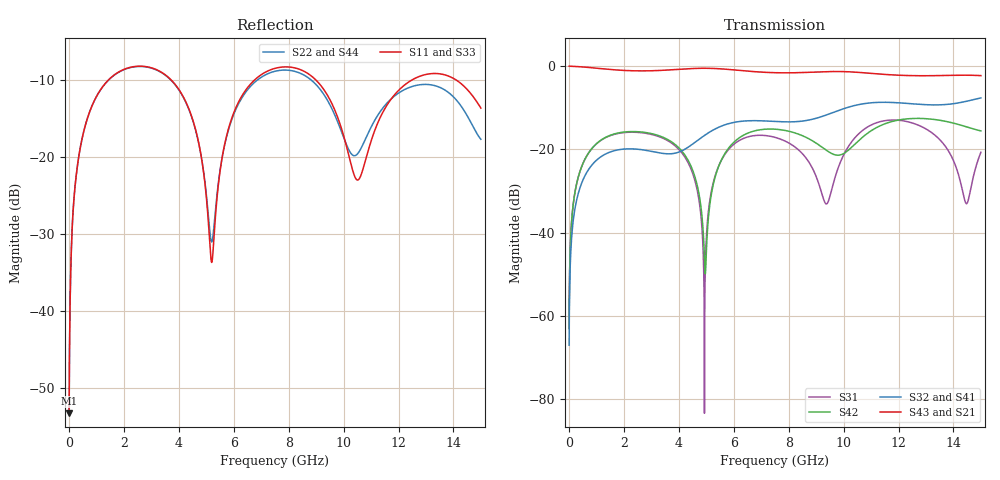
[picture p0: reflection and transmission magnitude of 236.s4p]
! Created with skrf 1.8.0 (http://scikit-rf.org).
# GHz S RI R 50.0
!freq ReS11 ImS11 ReS12 ImS12 ReS13 ImS13
! ReS14 ImS14
! ReS21 ImS21 ReS22 ImS22 ReS23 ImS23
! ReS24 ImS24
! ReS31 ImS31 ReS32 ImS32 ReS33 ImS33
! ReS34 ImS34
! ReS41 ImS41 ReS42 ImS42 ReS43 ImS43
! ReS44 ImS44
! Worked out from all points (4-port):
!   2499 points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, 5 MHz to 15 GHz, reference 50 ohm
!   strongest paths, dB at 5 MHz, 3.476 GHz, 7.19 GHz, 11.1 GHz, 15 GHz:
!     S43: 0.0, -1.0, -1.5, -1.8, -2.3
!     S21: 0.0, -1.0, -1.5, -1.8, -2.3
!     S32: -67.0, -21.0, -13.2, -8.8, -7.6
!     S41: -67.0, -21.1, -13.2, -8.8, -7.6
!     S42: -63.0, -17.2, -15.1, -15.1, -15.6
!     S31: -63.0, -17.5, -16.7, -13.9, -20.7
!   lowest |S11| = -53.3 dB at 5 MHz (marker M1), VSWR 1.00, Z = 50.2 + j0.131 ohm
!   |S11| at or under -10 dB: start of sweep to 1.421 GHz; 3.739 GHz to 6.74 GHz (3.001 GHz wide, 57.3 % of centre); 9.008 GHz to 12.46 GHz (3.452 GHz wide, 32.2 % of centre) (the widest 3 of 4)
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0.005  0.00172 0.00131  0.9982 -0.00336  8.74e-05 0.000701  -8.48e-05 -0.000437
       0.9982 -0.00336  0.00172 0.00131  -8.48e-05 -0.000437  8.75e-05 0.000701
       8.74e-05 0.000701  -8.48e-05 -0.000437  0.00172 0.00131  0.9982 -0.00336
       -8.48e-05 -0.000437  8.75e-05 0.000701  0.9982 -0.00336  0.00172 0.00131
1.519383  0.2796 0.173  0.5293 -0.7404  0.1324 0.0637  -0.0933 -0.00275
          0.5293 -0.7404  0.2779 0.1743  -0.0934 -0.00255  0.1367 0.0576
          0.1324 0.0637  -0.0934 -0.00255  0.2794 0.1731  0.5293 -0.7404
          -0.0933 -0.00275  0.1367 0.0576  0.5293 -0.7404  0.278 0.1742
4.189246  0.159 -0.1831  -0.697 -0.6057  0.0466 -0.0695  -0.0453 0.0874
          -0.697 -0.6057  0.1638 -0.1764  -0.0436 0.0889  0.0361 -0.0805
          0.0466 -0.0695  -0.0436 0.0889  0.1591 -0.1818  -0.6972 -0.6058
          -0.0453 0.0874  0.0361 -0.0805  -0.6972 -0.6058  0.1627 -0.1767
4.939558  0.0301 -0.0638  -0.9151 -0.2237  -3.3e-05 0.000715  -0.032 0.1439
          -0.9151 -0.2237  0.0376 -0.0611  -0.0289 0.1446  -0.00353 -0.00271
          -3.3e-05 0.000715  -0.0289 0.1446  0.0311 -0.0626  -0.9152 -0.2237
          -0.032 0.1439  -0.00353 -0.00271  -0.9152 -0.2237  0.0361 -0.0605
5.958733  0.109 0.1507  -0.8297 0.3578  0.0762 0.0818  0.1036 0.1815
          -0.8297 0.3578  0.1107 0.1447  0.1074 0.1796  0.094 0.0708
          0.0762 0.0818  0.1074 0.1796  0.1103 0.1505  -0.8296 0.3577
          0.1036 0.1815  0.094 0.0708  -0.8296 0.3577  0.11 0.1464
10.45436  0.0698 -0.0188  0.8371 0.1141  0.01 0.1425  0.046 -0.3362
          0.8371 0.1141  0.1033 0.00116  0.0342 -0.3378  -0.0305 0.1152
          0.01 0.1425  0.0342 -0.3378  0.0678 -0.0185  0.8371 0.115
          0.046 -0.3362  -0.0305 0.1152  0.8371 0.115  0.1041 0.00562
15  0.1629 -0.131  -0.6158 -0.46  0.0104 0.0916  -0.2613 0.3236
    -0.6158 -0.46  0.1302 -0.0152  -0.2419 0.3373  -0.157 -0.0559
    0.0104 0.0916  -0.2419 0.3373  0.1646 -0.1319  -0.6129 -0.464
    -0.2613 0.3236  -0.157 -0.0559  -0.6129 -0.464  0.1249 -0.0173
